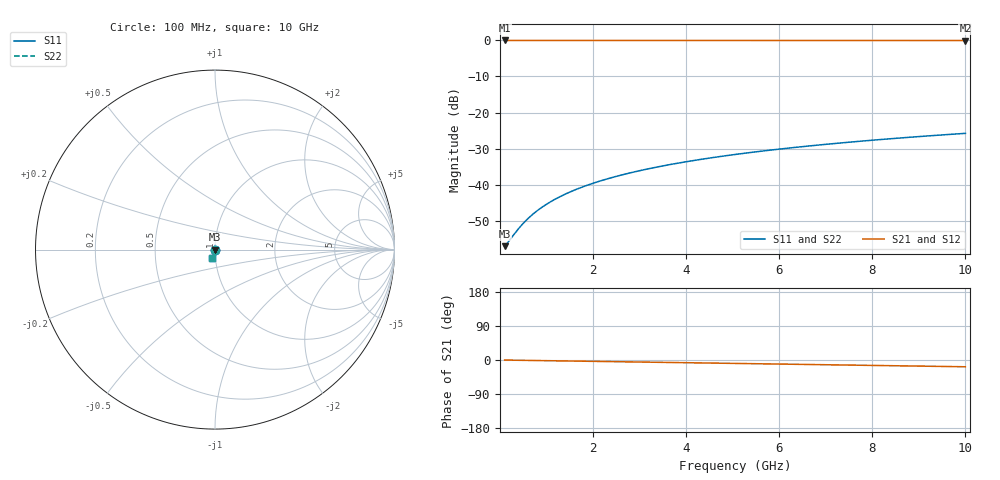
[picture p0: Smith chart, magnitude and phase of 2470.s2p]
# Hz S RI R 50.00
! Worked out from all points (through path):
!   100 points, 100 MHz to 10 GHz, reference 50 ohm
!   highest |S21| = -0.01 dB at 100 MHz (marker M1); lowest = 0.0 dB at 10 GHz (marker M2)
!   group delay of S21, straight-line fit = 4.97 ps
!   lowest |S11| = -57.0 dB at 100 MHz (marker M3), VSWR 1.00, Z = 50.1 - j0.0525 ohm
!   |S11| at or under -10 dB: start of sweep to end of sweep
!   |S22| runs from -57.0 to -25.8 dB; largest |S21 - S12| = 0
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1e8  0.00131 -0.000523  0.9987 -0.00311  0.9987 -0.00311  0.00131 -0.000523
2e8  0.00131 -0.00105  0.9987 -0.00621  0.9987 -0.00621  0.00131 -0.00105
4e8  0.0013 -0.00209  0.9986 -0.0124  0.9986 -0.0124  0.0013 -0.00209
5e8  0.00129 -0.00262  0.9985 -0.0155  0.9985 -0.0155  0.00129 -0.00262
6e8  0.00127 -0.00314  0.9985 -0.0186  0.9985 -0.0186  0.00127 -0.00314
7e8  0.00125 -0.00366  0.9984 -0.0217  0.9984 -0.0217  0.00125 -0.00366
8e8  0.00123 -0.00419  0.9983 -0.0249  0.9983 -0.0249  0.00123 -0.00419
1e9  0.00117 -0.00523  0.9981 -0.0311  0.9981 -0.0311  0.00117 -0.00523
1.2e9  0.0011 -0.00628  0.9979 -0.0373  0.9979 -0.0373  0.0011 -0.00628
1.5e9  0.000974 -0.00785  0.9975 -0.0466  0.9975 -0.0466  0.000974 -0.00785
1.8e9  0.000814 -0.00941  0.997 -0.0559  0.997 -0.0559  0.000814 -0.00941
2.1e9  0.000626 -0.011  0.9964 -0.0652  0.9964 -0.0652  0.000626 -0.011
2.5e9  0.000328 -0.0131  0.9955 -0.0776  0.9955 -0.0776  0.000328 -0.0131
2.9e9  -2.19e-05 -0.0151  0.9944 -0.09  0.9944 -0.09  -2.19e-05 -0.0151
3.4e9  -0.000532 -0.0177  0.9928 -0.1055  0.9928 -0.1055  -0.000532 -0.0177
4.2e9  -0.00152 -0.0218  0.9897 -0.1302  0.9897 -0.1302  -0.00152 -0.0218
5.1e9  -0.00287 -0.0263  0.9856 -0.1579  0.9856 -0.1579  -0.00287 -0.0263
5.9e9  -0.00428 -0.0303  0.9812 -0.1825  0.9812 -0.1825  -0.00428 -0.0303
6.7e9  -0.00589 -0.0342  0.9761 -0.2069  0.9761 -0.2069  -0.00589 -0.0342
7.5e9  -0.0077 -0.0381  0.9705 -0.2312  0.9705 -0.2312  -0.0077 -0.0381
8.4e9  -0.00996 -0.0423  0.9634 -0.2584  0.9634 -0.2584  -0.00996 -0.0423
1e10  -0.0146 -0.0494  0.9488 -0.3062  0.9488 -0.3062  -0.0146 -0.0494
